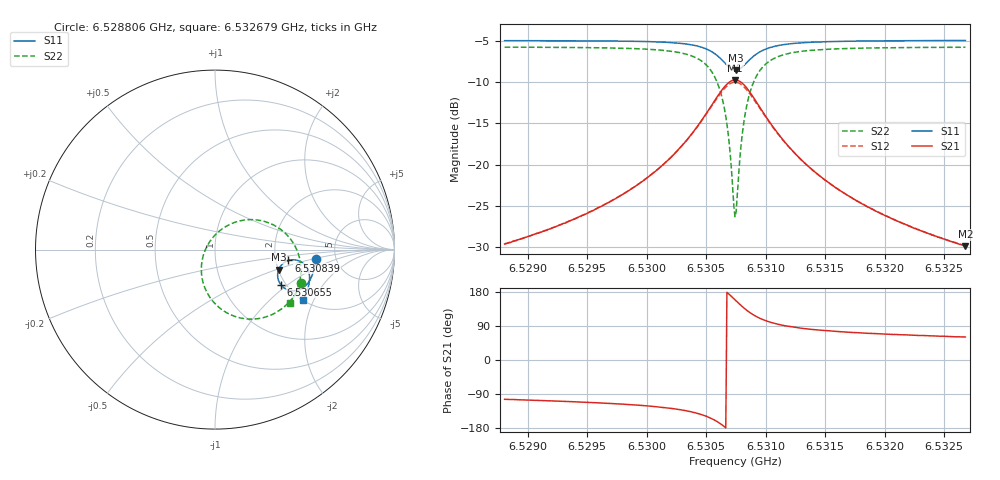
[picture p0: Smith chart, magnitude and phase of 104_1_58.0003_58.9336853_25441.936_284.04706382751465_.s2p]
#  HZ  S  RI  R  50.00
! Rohde & Schwarz Vector Network Analyzer
! Rohde-Schwarz,ZNB20-2Port,1311601062101988,3.16
! Created: UTC 3/21/2024, 12:54:55 AM
! freq[Hz]  re:S11  im:S11  re:S21  im:S21  re:S12  im:S12  re:S22  im:S22
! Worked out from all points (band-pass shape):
!   401 points, 6.528806 GHz to 6.532679 GHz, reference 50 ohm
!   highest |S21| = -9.74 dB at 6.530742 GHz (marker M1); lowest = -29.9 dB at 6.532679 GHz (marker M2)
!   |S21| within 3 dB of the highest: 6.530549 GHz to 6.530937 GHz (387.9 kHz wide, 0.00594 % of centre)
!   lowest |S11| = -8.6 dB at 6.530752 GHz (marker M3), VSWR 2.18, Z = 100 - j26 ohm
!   |S11| at or under -10 dB: nowhere
!   |S22| runs from -26.3 to -5.8 dB; largest |S21 - S12| = 0.014
!   S11 on the Smith chart (normalised r, x): 6.528806 GHz: 3.48, -0.56; 6.530655 GHz: 1.88, -0.88; 6.530839 GHz: 2.35, -0.34; 6.532679 GHz: 2.00, -1.66
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6.5288056e9  0.5607 -0.0549  -0.00782 -0.0321  -0.00854 -0.032  0.4804 -0.1843
6.5294544e9  0.5513 -0.1102  -0.0178 -0.0459  -0.0188 -0.0455  0.4483 -0.2465
6.5298223e9  0.54 -0.146  -0.0308 -0.0604  -0.0324 -0.0596  0.4138 -0.2917
6.5301031e9  0.5239 -0.1781  -0.0531 -0.0788  -0.0555 -0.0773  0.3629 -0.3363
6.5303258e9  0.4965 -0.2085  -0.0951 -0.0998  -0.0981 -0.0964  0.2778 -0.3766
6.5304904e9  0.4509 -0.2286  -0.1673 -0.1075  -0.1699 -0.1002  0.1448 -0.3817
6.5305872e9  0.4035 -0.2232  -0.2413 -0.0802  -0.2404 -0.0694  0.0212 -0.321
6.530655e9  0.3659 -0.1945  -0.2962 -0.0185  -0.2897 -0.00732  -0.059 -0.2065
6.5306841e9  0.3544 -0.1731  -0.3108 0.0223  -0.3018 0.032  -0.0751 -0.1358
6.5307228e9  0.3489 -0.1384  -0.3127 0.0855  -0.3008 0.0917  -0.0651 -0.0321
6.5307422e9  0.352 -0.1202  -0.3038 0.1174  -0.2917 0.1213  -0.0447 0.0183
6.5307518e9  0.3547 -0.1114  -0.2974 0.1327  -0.285 0.1354  -0.0309 0.042
6.5307615e9  0.3585 -0.1031  -0.2892 0.1471  -0.2771 0.1487  -0.015 0.0638
6.5308003e9  0.3808 -0.0757  -0.2458 0.1934  -0.2354 0.1916  0.0649 0.1313
6.530839e9  0.4092 -0.0605  -0.1942 0.2186  -0.1866 0.2149  0.1544 0.1633
6.5309068e9  0.4551 -0.0589  -0.1143 0.2215  -0.1105 0.218  0.2886 0.1528
6.5310036e9  0.4956 -0.0807  -0.0452 0.1893  -0.0434 0.1874  0.4004 0.0824
6.5311488e9  0.5199 -0.1172  -0.00304 0.1404  -0.00178 0.1396  0.4623 -0.0175
6.5313909e9  0.5272 -0.1613  0.0152 0.0919  0.0161 0.0917  0.4786 -0.119
6.5316911e9  0.5224 -0.1987  0.0185 0.0624  0.0196 0.062  0.4689 -0.1882
6.5320396e9  0.5124 -0.2321  0.018 0.0444  0.0187 0.0442  0.4518 -0.238
6.5326787e9  0.4896 -0.2822  0.0157 0.028  0.0163 0.0278  0.4186 -0.2983
